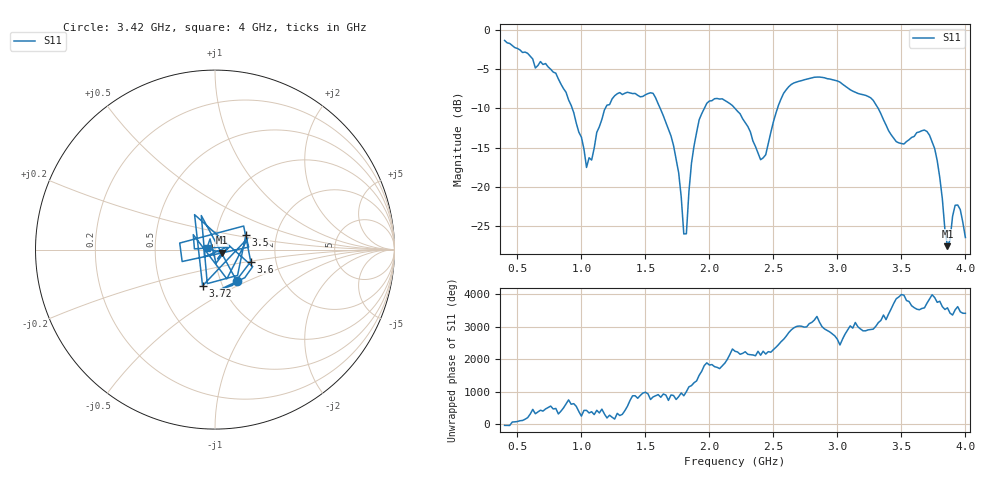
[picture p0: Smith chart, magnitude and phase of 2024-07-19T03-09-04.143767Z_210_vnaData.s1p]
!Created with skrf (http://scikit-rf.org).
# Hz S RI R 50.0
!freq ReS11 ImS11
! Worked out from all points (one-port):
!   181 points, 400 MHz to 4 GHz, reference 50 ohm
!   lowest |S11| = -27.5 dB at 3.86 GHz (marker M1), VSWR 1.09, Z = 54 - j1.84 ohm
!   |S11| at or under -10 dB: 1.616 GHz to 1.961 GHz (345 MHz wide, 19.3 % of centre); 2.2 GHz to 2.532 GHz (331.7 MHz wide, 14 % of centre); 3.319 GHz to end of sweep (the widest 3 of 4)
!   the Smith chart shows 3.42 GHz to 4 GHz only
!   S11 on the Smith chart (normalised r, x): 3.42 GHz: 1.19, -0.44; 3.5 GHz: 1.39, +0.23; 3.6 GHz: 1.48, -0.21; 3.72 GHz: 0.81, -0.34; 4 GHz: 0.91, +0.02
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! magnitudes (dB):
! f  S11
! 400 MHz  -1.4
! 860 MHz  -7.5
! 1.04 GHz  -17.5
! 1.18 GHz  -10.2
! 1.3 GHz  -8.0
! 1.56 GHz  -8.1
! 1.7 GHz  -13.5
! 1.76 GHz  -18.2
! 1.8 GHz  -25.9
! 1.82 GHz  -25.9
! 1.86 GHz  -17.0
! 1.92 GHz  -11.4
! 2.04 GHz  -8.8
! 2.2 GHz  -10.0
! 2.4 GHz  -16.5
! 2.56 GHz  -8.8
! 2.66 GHz  -6.8
! 3.1 GHz  -7.6
! 3.28 GHz  -9.0
! 3.42 GHz  -13.3
! 3.5 GHz  -14.5
! 3.56 GHz  -14.0
! 3.6 GHz  -13.6
! 3.72 GHz  -13.4
! 3.78 GHz  -16.7
! 3.86 GHz  -27.5
! 3.92 GHz  -22.3
! 4 GHz  -26.4
